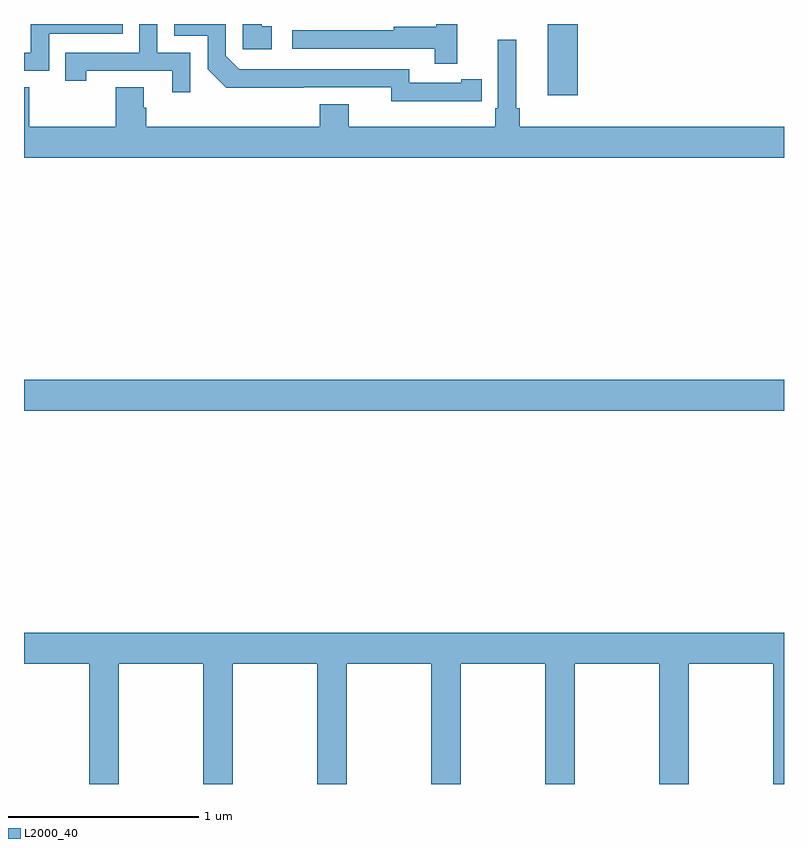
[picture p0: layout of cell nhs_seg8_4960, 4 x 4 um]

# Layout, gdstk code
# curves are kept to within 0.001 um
import gdstk
lib = gdstk.Library(unit=1e-6, precision=1e-09)
def R(c, l, rs):  # rectangles x0, y0, x1, y1
    for r in rs: c.add(gdstk.rectangle(r[:2], r[2:], *l))
def P(c, l, *ps):  # polygons
    for p in ps: c.add(gdstk.Polygon(p, *l))
L2000_40 = (2000, 40)

nhs_seg8_4960 = lib.new_cell('nhs_seg8_4960')
R(nhs_seg8_4960, L2000_40, [(411,1085.864,415,1086.028), (413.756,1087.524,413.915,1087.9)])
P(nhs_seg8_4960, L2000_40, [(411.876,1087.749),(411.702,1087.749),(411.702,1087.9),(411.606,1087.9),(411.606,1087.749),(411.217,1087.749),(411.217,1087.602),(411.328,1087.602),(411.328,1087.653),(411.779,1087.653),(411.779,1087.542),(411.876,1087.542)],
  [(413.279,1087.9),(413.169,1087.9),(413.169,1087.886),(412.945,1087.886),(412.945,1087.866),(412.413,1087.866),(412.413,1087.77),(413.161,1087.77),(413.161,1087.692),(413.279,1087.692)],
  [(413.3,1087.494),(413.408,1087.494),(413.408,1087.61),(413.3,1087.61),(413.3,1087.59),(413.028,1087.59),(413.028,1087.662),(412.134,1087.662),(412.062,1087.734),(412.062,1087.9),(411.792,1087.9),(411.792,1087.839),(411.966,1087.839),(411.966,1087.662),(412.064,1087.565),(412.932,1087.566),(412.932,1087.493)],
  [(412.303,1087.887),(412.25,1087.887),(412.25,1087.9),(412.152,1087.9),(412.152,1087.767),(412.303,1087.767)],
  [(411.132,1087.848),(411.521,1087.848),(411.521,1087.9),(411.036,1087.9),(411.036,1087.749),(411,1087.749),(411,1087.653),(411.132,1087.653)],
  [(415,1087.36),(413.609,1087.36),(413.609,1087.456),(413.59,1087.456),(413.59,1087.816),(413.493,1087.816),(413.493,1087.456),(413.48,1087.456),(413.48,1087.36),(412.708,1087.36),(412.708,1087.477),(412.556,1087.477),(412.556,1087.36),(411.644,1087.36),(411.644,1087.458),(411.631,1087.458),(411.631,1087.568),(411.484,1087.568),(411.484,1087.36),(411.027,1087.36),(411.027,1087.568),(411,1087.568),(411,1087.196),(415,1087.196)],
  [(411.498,1084.532),(411.943,1084.532),(411.943,1083.9),(412.098,1083.9),(412.098,1084.532),(412.543,1084.532),(412.543,1083.9),(412.698,1083.9),(412.698,1084.532),(413.143,1084.532),(413.143,1083.9),(413.298,1083.9),(413.298,1084.532),(413.743,1084.532),(413.743,1083.9),(413.898,1083.9),(413.898,1084.532),(414.343,1084.532),(414.343,1083.9),(414.498,1083.9),(414.498,1084.532),(414.943,1084.532),(414.943,1083.9),(415,1083.9),(415,1084.696),(411,1084.696),(411,1084.532),(411.343,1084.532),(411.343,1083.9),(411.498,1083.9)])

lib.write_gds('nhs_seg8_4960.gds')
